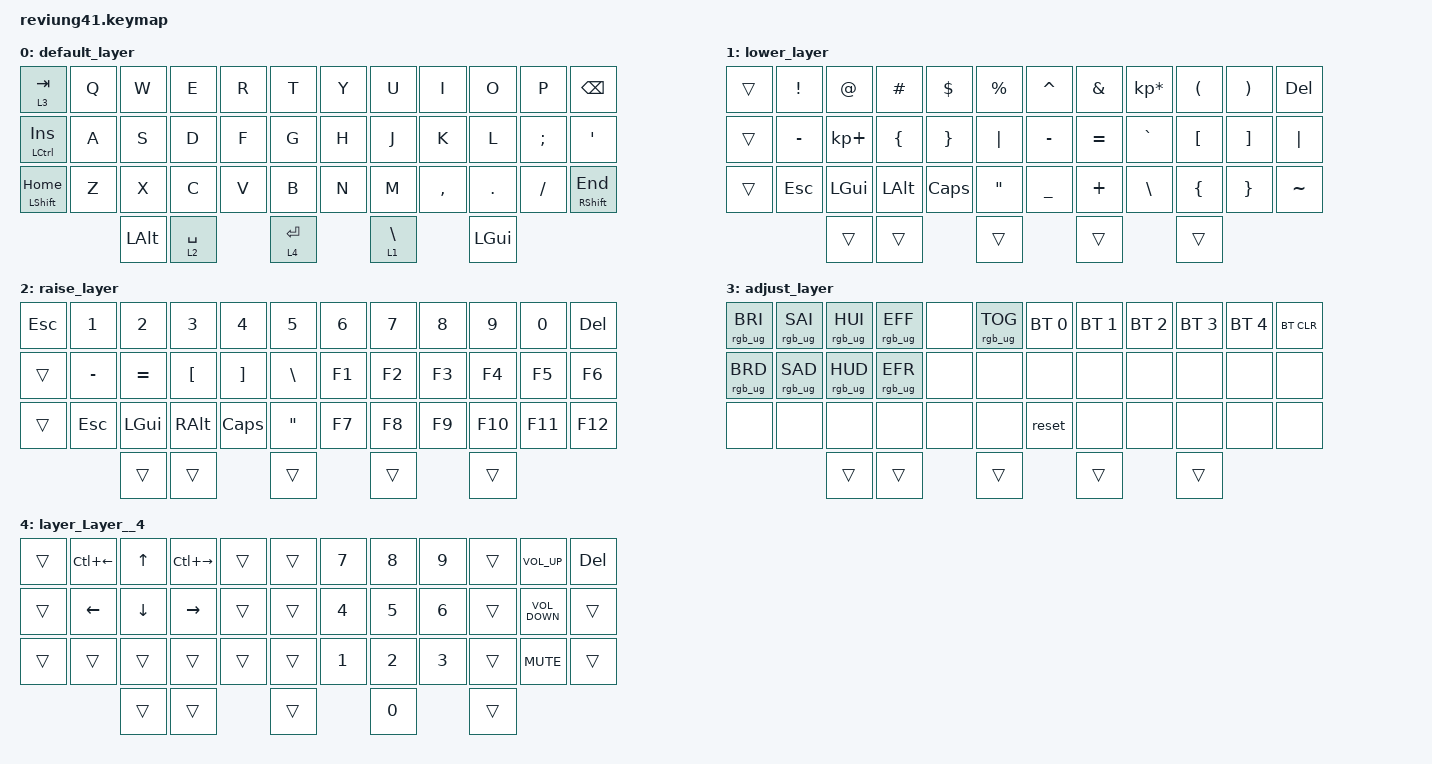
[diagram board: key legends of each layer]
/*
 * Copyright (c) 2020 The ZMK Contributors
 *
 * SPDX-License-Identifier: MIT
 */

#include <behaviors.dtsi>
#include <dt-bindings/zmk/keys.h>
#include <dt-bindings/zmk/bt.h>
#include <dt-bindings/zmk/rgb.h>

/ {
        keymap {
                compatible = "zmk,keymap";

                default_layer {
// -------------------------------------------------------------------------------------
// |  TAB |  Q  |  W  |  E  |  R  |  T  |   |  Y  |  U   |  I  |  O  |  P  |   BKSP    |
// | CTRL |  A  |  S  |  D  |  F  |  G  |   |  H  |  J   |  K  |  L  |  ;  |    '      |
// | SHFT |  Z  |  X  |  C  |  V  |  B  |   |  N  |  M   |  ,  |  .  |  /  | SHFT(RET) |
//                         | ALT | LWR | SPC | RSE  | ALT |
                        bindings = <
   &lt 3 TAB          &kp Q &kp W &kp E &kp R &kp T   &kp Y &kp U  &kp I     &kp O   &kp P    &kp BSPC
   &mt LCTRL INSERT   &kp A &kp S &kp D &kp F &kp G   &kp H &kp J  &kp K     &kp L   &kp SEMI &kp SQT
   &mt LSHFT HOME     &kp Z &kp X &kp C &kp V &kp B   &kp N &kp M  &kp COMMA &kp DOT &kp FSLH &mt RSHFT END
                          &kp LALT  &lt 2 SPACE &lt 4 ENTER &lt 1 BACKSLASH  &kp LGUI
                        >;
                };

                lower_layer {
// ----------------------------------------------------------------------------------
// |    |  !  |  @  |  #  |  $  |  %  |   |  ^  |  &  |  *  |  (  |  )  |    DEL    |
// |    |  _  |  +  |  {  |  }  | "|" |   | LFT | DWN |  UP | RGT |  `  |     ~     |
// |    | ESC | GUI | ALT | CAPS|  "  |   | HOME| END | PGUP| PGDN| PRSC| SHFT(RET) |
//                       |     |     | RET | ADJ |     |
                        bindings = <
   &trans &kp EXCL  &kp AT      &kp HASH &kp DLLR &kp PRCNT      &kp CARET   &kp AMPS &kp KP_MULTIPLY    &kp LPAR          &kp RPAR          &kp DEL
   &trans &kp MINUS &kp KP_PLUS &kp LBRC &kp RBRC &kp PIPE       &kp MINUS   &kp EQUAL  &kp GRAVE        &kp LEFT_BRACKET  &kp RIGHT_BRACKET &kp PIPE
   &trans &kp ESC   &kp LGUI    &kp LALT &kp CLCK &kp DQT        &kp UNDER   &kp PLUS   &kp BACKSLASH    &kp LEFT_BRACE    &kp RIGHT_BRACE   &kp TILDE
                                 &trans      &trans       &trans        &trans       &trans
                        >;
                };

                raise_layer {
// -----------------------------------------------------------------------------------------
// |    |  1  |  2  |  3  |  4  |  5  |   |  6  |  7  |  8  |  9  |  0  | DEL |
// |    |  -  |  =  |  [  |  ]  |  \  |   | F1  | F2  | F3  | F4  | F5  | F6  |
// |    | ESC | GUI | ALT | CAPS|  "  |   | F7  | F8  | F9  | F10 | F11 | F12 |
//                       |     | ADJ | BKSP |    |     |
                        bindings = <
   &kp ESC &kp N1    &kp N2    &kp N3    &kp N4    &kp N5        &kp N6    &kp N7    &kp N8    &kp N9    &kp N0    &kp DEL
   &trans  &kp MINUS &kp EQUAL &kp LBKT  &kp RBKT  &kp BSLH      &kp F1    &kp F2    &kp F3    &kp F4    &kp F5    &kp F6
   &trans  &kp ESC   &kp LGUI  &kp RALT  &kp CLCK  &kp DQT       &kp F7    &kp F8    &kp F9    &kp F10   &kp F11   &kp F12
                                 &trans      &trans       &trans        &trans      &trans
                        >;
                };

                adjust_layer {
// -----------------------------------------------------------------------------------------
// | RGB BRI+ | RGB SAT+ | RGB HUE+ | RGB ANI+ |    | RGB TOG |   |  BT1  | BT2 | BT3 | BT4 | BT5 | BT CLR |
// | RGB BRI- | RGB SAT- | RGB HUE- | RGB ANI- |    |         |   |       |     |     |     |     |        |
// |          |          |          |          |    |         |   | RESET |     |     |     |     |        |
//                                              |     |     |     |     |     |
                        bindings = <
   &rgb_ug RGB_BRI &rgb_ug RGB_SAI &rgb_ug RGB_HUI &rgb_ug RGB_EFF &none &rgb_ug RGB_TOG    &bt BT_SEL 0 &bt BT_SEL 1 &bt BT_SEL 2 &bt BT_SEL 3 &bt BT_SEL 4 &bt BT_CLR
   &rgb_ug RGB_BRD &rgb_ug RGB_SAD &rgb_ug RGB_HUD &rgb_ug RGB_EFR &none &none              &none        &none        &none        &none        &none        &none
   &none           &none           &none           &none           &none &none              &reset       &none        &none        &none        &none        &none
                                                             &trans      &trans       &trans        &trans      &trans
                        >;
                };
                
                 layer_Layer__4 {
            bindings = <
    &trans    &kp LC(LEFT)    &kp UP_ARROW     &kp LC(RIGHT)    &trans  &trans            &kp NUMBER_7  &kp NUMBER_8  &kp NUMBER_9  &trans  &kp K_VOLUME_UP    &kp DELETE
    &trans    &kp LEFT_ARROW  &kp DOWN_ARROW   &kp RIGHT_ARROW  &trans  &trans            &kp NUMBER_4  &kp NUMBER_5  &kp NUMBER_6  &trans  &kp C_VOLUME_DOWN  &trans
    &trans    &trans          &trans           &trans           &trans  &trans            &kp NUMBER_1  &kp NUMBER_2  &kp NUMBER_3  &trans  &kp K_MUTE         &trans
                                               &trans           &trans  &trans            &kp NUMBER_0  &trans  
            >;
        };
        };
};
